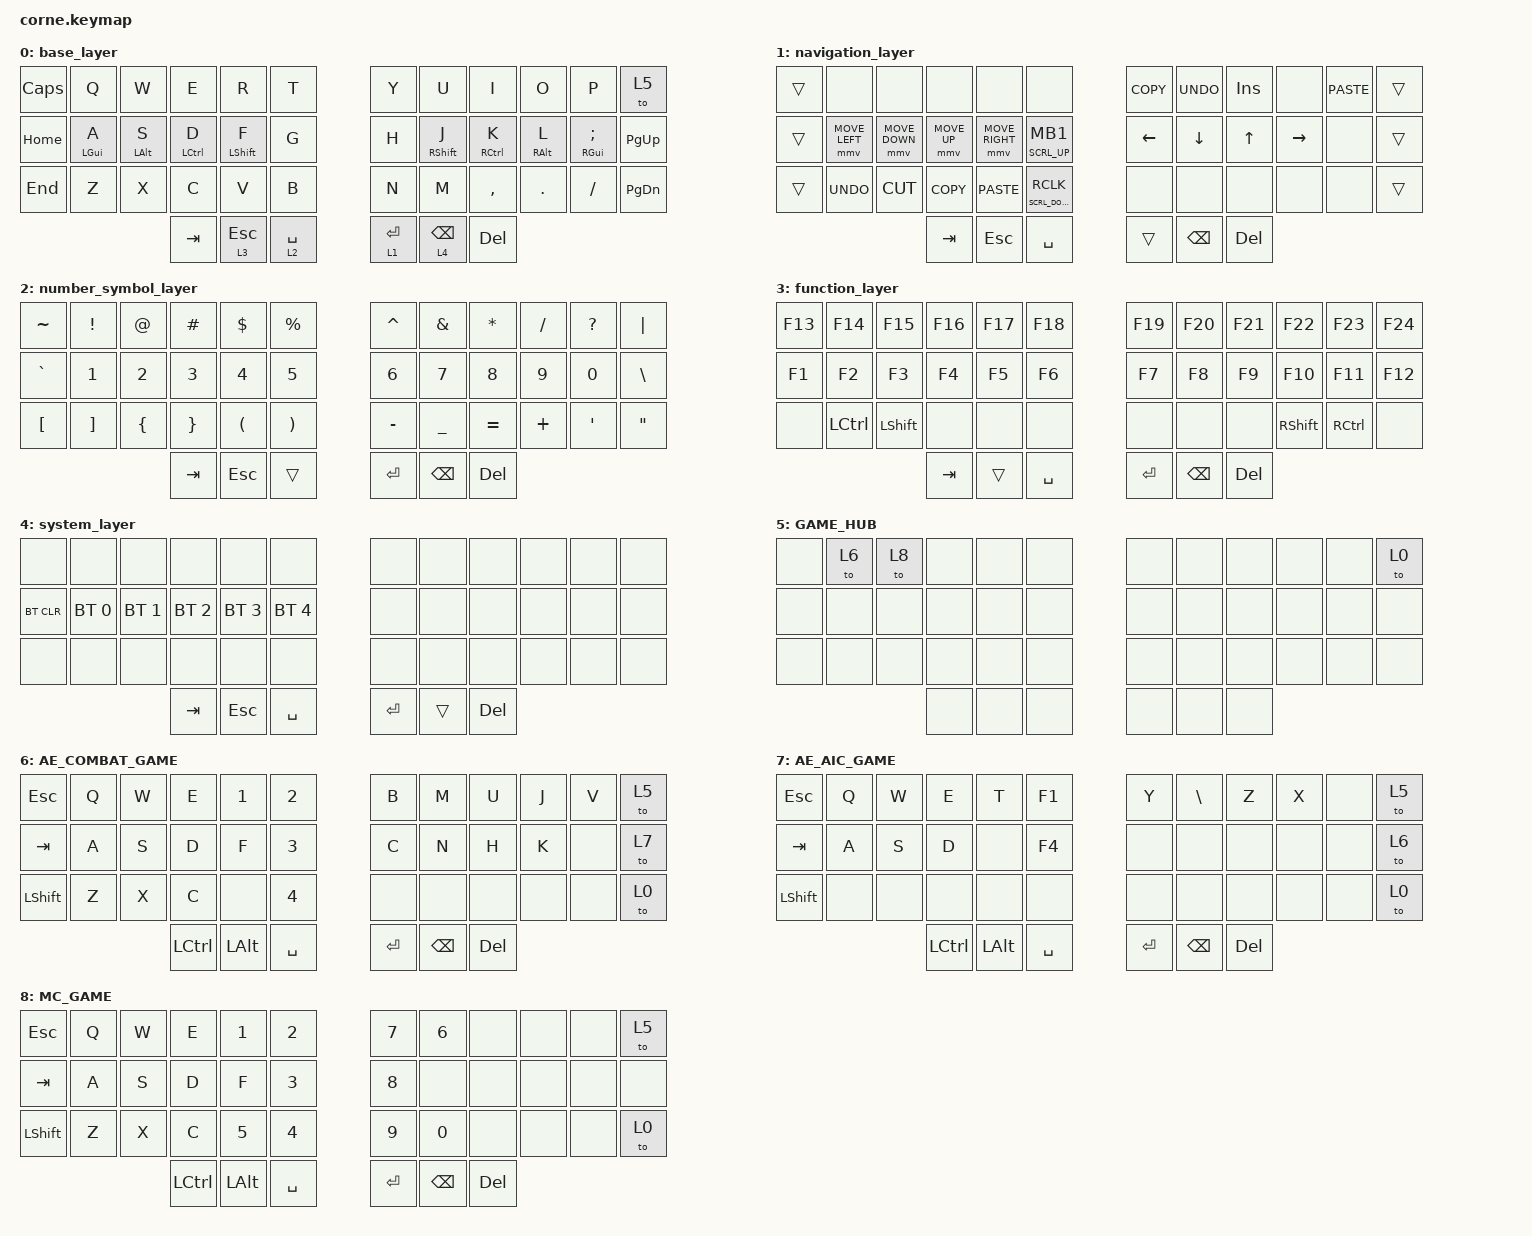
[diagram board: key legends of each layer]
/*
 * Copyright (c) 2020 The ZMK Contributors
 *
 * SPDX-License-Identifier: MIT
 */

#include <behaviors.dtsi>
#include <dt-bindings/zmk/bt.h>
#include <dt-bindings/zmk/keys.h>
#include <dt-bindings/zmk/pointing.h>

/ {
    behaviors {
        hml: hml {
            compatible = "zmk,behavior-hold-tap";
            label = "HML";
            bindings = <&kp>, <&kp>;

            #binding-cells = <2>;
            tapping-term-ms = <280>;
            flavor = "balanced";
            hold-trigger-key-positions = <6 7 8 9 10 11 18 19 20 21 22 23 30 31 32 33 34 35 39 40 41>;
            quick-tap-ms = <175>;
            require-prior-idle-ms = <150>;
            hold-trigger-on-release;
        };

        hmr: hmr {
            compatible = "zmk,behavior-hold-tap";
            label = "HMR";
            bindings = <&kp>, <&kp>;

            #binding-cells = <2>;
            tapping-term-ms = <280>;
            quick-tap-ms = <175>;
            require-prior-idle-ms = <150>;
            flavor = "balanced";
            hold-trigger-key-positions = <0 1 2 3 4 5 12 13 14 15 16 17 24 25 26 27 28 29 36 37 38>;
            hold-trigger-on-release;
        };

        my_lt: my_lt {
            compatible = "zmk,behavior-hold-tap";
            label = "MY_LT";
            bindings = <&mo>, <&kp>;

            #binding-cells = <2>;
            tapping-term-ms = <160>;
            quick-tap-ms = <140>;
            require-prior-idle-ms = <120>;
            flavor = "balanced";
            hold-trigger-on-release;
        };

        m_tap_hold: m_tap_hold {
            compatible = "zmk,behavior-hold-tap";
            label = "M_TAP_HOLD";
            bindings = <&msc>, <&mkp>;

            #binding-cells = <2>;
            tapping-term-ms = <160>;
            quick-tap-ms = <140>;
            require-prior-idle-ms = <80>;
            flavor = "tap-preferred";
            hold-trigger-on-release;
        };
    };

    combos { compatible = "zmk,combos"; };

    keymap {
        compatible = "zmk,keymap";

        base_layer {
            // -----------------------------------------------------------------------------------------
            // |  TAB |  Q  |  W  |  E  |  R  |  T  |   |  Y  |  U   |  I  |  O  |  P  | BKSP |
            // | CTRL |  A  |  S  |  D  |  F  |  G  |   |  H  |  J   |  K  |  L  |  ;  |  '   |
            // | SHFT |  Z  |  X  |  C  |  V  |  B  |   |  N  |  M   |  ,  |  .  |  /  | ESC  |
            //                    | GUI | LWR | SPC |   | ENT | RSE  | ALT |

            bindings = <
&kp CAPS  &kp Q            &kp W            &kp E         &kp R              &kp T             &kp Y         &kp U               &kp I         &kp O        &kp P           &to 5
&kp HOME  &hml LEFT_GUI A  &hml LEFT_ALT S  &hml LCTRL D  &hml LEFT_SHIFT F  &kp G             &kp H         &hmr RIGHT_SHIFT J  &hmr RCTRL K  &hmr RALT L  &hmr RGUI SEMI  &kp PG_UP
&kp END   &kp Z            &kp X            &kp C         &kp V              &kp B             &kp N         &kp M               &kp COMMA     &kp DOT      &kp FSLH        &kp PG_DN
                                            &kp TAB       &my_lt 3 ESC       &my_lt 2 SPACE    &my_lt 1 RET  &my_lt 4 BACKSPACE  &kp DELETE
            >;
        };

        navigation_layer {
            // -----------------------------------------------------------------------------------------
            // |  TAB |  1  |  2  |  3  |  4  |  5  |   |  6  |  7  |  8  |  9  |  0  | BKSP |
            // | BTCLR| BT1 | BT2 | BT3 | BT4 | BT5 |   | LFT | DWN |  UP | RGT |     |      |
            // | SHFT |     |     |     |     |     |   |     |     |     |     |     |      |
            //                    | GUI |     | SPC |   | ENT |     | ALT |

            bindings = <
&trans  &none           &none           &none         &none            &none                         &kp K_COPY      &kp K_UNDO     &kp INSERT    &none      &kp K_PASTE  &trans
&trans  &mmv MOVE_LEFT  &mmv MOVE_DOWN  &mmv MOVE_UP  &mmv MOVE_RIGHT  &m_tap_hold SCRL_UP MB1       &kp LEFT_ARROW  &kp DOWN       &kp UP_ARROW  &kp RIGHT  &none        &trans
&trans  &kp K_UNDO      &kp K_CUT       &kp K_COPY    &kp K_PASTE      &m_tap_hold SCRL_DOWN RCLK    &none           &none          &none         &none      &none        &trans
                                        &kp TAB       &kp ESCAPE       &kp SPACE                     &trans          &kp BACKSPACE  &kp DELETE
            >;
        };

        number_symbol_layer {
            // -----------------------------------------------------------------------------------------
            // |  TAB |  !  |  @  |  #  |  $  |  %  |   |  ^  |  &  |  *  |  (  |  )  | BKSP |
            // | CTRL |     |     |     |     |     |   |  -  |  =  |  [  |  ]  |  \  |  `   |
            // | SHFT |     |     |     |     |     |   |  _  |  +  |  {  |  }  | "|" |  ~   |
            //                    | GUI |     | SPC |   | ENT |     | ALT |

            bindings = <
&kp TILDE  &kp EXCL  &kp AT    &kp HASH  &kp DOLLAR  &kp PERCENT    &kp CARET  &kp AMPS       &kp STAR    &kp SLASH  &kp QUESTION  &kp PIPE
&kp GRAVE  &kp N1    &kp N2    &kp N3    &kp N4      &kp N5         &kp N6     &kp N7         &kp N8      &kp N9     &kp N0        &kp BACKSLASH
&kp LBKT   &kp RBKT  &kp LBRC  &kp RBRC  &kp LPAR    &kp RPAR       &kp MINUS  &kp UNDER      &kp EQUAL   &kp PLUS   &kp SQT       &kp DOUBLE_QUOTES
                               &kp TAB   &kp ESC     &trans         &kp RET    &kp BACKSPACE  &kp DELETE
            >;
        };

        function_layer {
            bindings = <
&kp F13  &kp F14    &kp F15    &kp F16  &kp F17  &kp F18      &kp F19    &kp F20        &kp F21     &kp F22    &kp F23    &kp F24
&kp F1   &kp F2     &kp F3     &kp F4   &kp F5   &kp F6       &kp F7     &kp F8         &kp F9      &kp F10    &kp F11    &kp F12
&none    &kp LCTRL  &kp LSHFT  &none    &none    &none        &none      &none          &none       &kp RSHFT  &kp RCTRL  &none
                               &kp TAB  &trans   &kp SPACE    &kp ENTER  &kp BACKSPACE  &kp DELETE
            >;
        };

        system_layer {
            bindings = <
&none       &none         &none         &none         &none         &none           &none    &none   &none    &none  &none  &none
&bt BT_CLR  &bt BT_SEL 0  &bt BT_SEL 1  &bt BT_SEL 2  &bt BT_SEL 3  &bt BT_SEL 4    &none    &none   &none    &none  &none  &none
&none       &none         &none         &none         &none         &none           &none    &none   &none    &none  &none  &none
                                        &kp TAB       &kp ESC       &kp SPACE       &kp RET  &trans  &kp DEL
            >;
        };

        GAME_HUB {
            bindings = <
&none  &to 6  &to 8  &none  &none  &none    &none  &none  &none  &none  &none  &to 0
&none  &none  &none  &none  &none  &none    &none  &none  &none  &none  &none  &none
&none  &none  &none  &none  &none  &none    &none  &none  &none  &none  &none  &none
                     &none  &none  &none    &none  &none  &none
            >;
        };

        AE_COMBAT_GAME {
            bindings = <
&kp ESC    &kp Q  &kp W  &kp E      &kp N1    &kp N2       &kp B    &kp M     &kp U    &kp J  &kp V  &to 5
&kp TAB    &kp A  &kp S  &kp D      &kp F     &kp N3       &kp C    &kp N     &kp H    &kp K  &none  &to 7
&kp LSHFT  &kp Z  &kp X  &kp C      &none     &kp N4       &none    &none     &none    &none  &none  &to 0
                         &kp LCTRL  &kp LALT  &kp SPACE    &kp RET  &kp BSPC  &kp DEL
            >;
        };

        AE_AIC_GAME {
            bindings = <
&kp ESC    &kp Q  &kp W  &kp E      &kp T     &kp F1       &kp Y    &kp BSLH  &kp Z    &kp X  &none  &to 5
&kp TAB    &kp A  &kp S  &kp D      &none     &kp F4       &none    &none     &none    &none  &none  &to 6
&kp LSHFT  &none  &none  &none      &none     &none        &none    &none     &none    &none  &none  &to 0
                         &kp LCTRL  &kp LALT  &kp SPACE    &kp RET  &kp BSPC  &kp DEL
            >;
        };

        MC_GAME {
            bindings = <
&kp ESC    &kp Q  &kp W  &kp E      &kp N1    &kp N2       &kp N7   &kp N6    &none    &none  &none  &to 5
&kp TAB    &kp A  &kp S  &kp D      &kp F     &kp N3       &kp N8   &none     &none    &none  &none  &none
&kp LSHFT  &kp Z  &kp X  &kp C      &kp N5    &kp N4       &kp N9   &kp N0    &none    &none  &none  &to 0
                         &kp LCTRL  &kp LALT  &kp SPACE    &kp RET  &kp BSPC  &kp DEL
            >;
        };
    };
};
